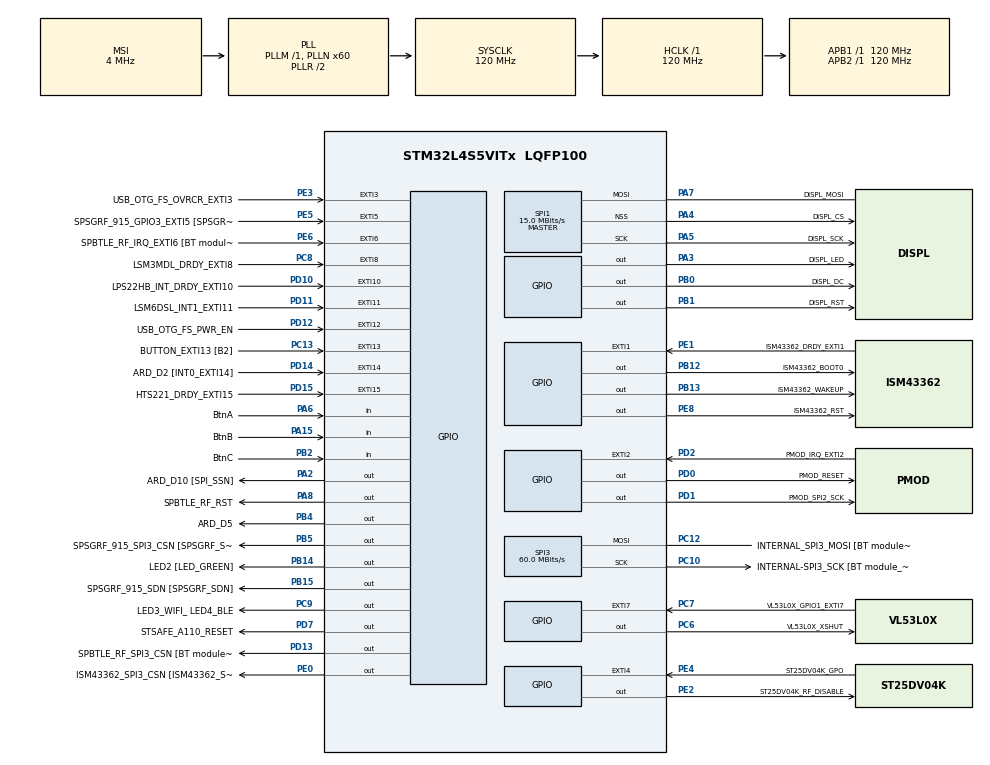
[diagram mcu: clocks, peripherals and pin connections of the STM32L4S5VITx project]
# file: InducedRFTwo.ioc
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Mcu.Family=STM32L4
Mcu.Name=STM32L4S5VITx
Mcu.Package=LQFP100
NVIC.EXTI15_10_IRQn=true\:0\:0\:false\:false\:true\:true\:true\:true
NVIC.EXTI9_5_IRQn=true\:0\:0\:false\:false\:true\:true\:true\:true
NVIC.PriorityGroup=NVIC_PRIORITYGROUP_4
PA0.GPIO_Label=ARD_D1 [UART4_TX]
PA0.GPIO_ModeDefaultPP=GPIO_MODE_AF_PP
PA0.GPIO_PuPd=GPIO_NOPULL
PA0.GPIO_Speed=GPIO_SPEED_FREQ_VERY_HIGH
PA0.Signal=UART4_TX
PA1.GPIO_Label=ARD_D0 [UART4_RX]
PA1.GPIO_ModeDefaultPP=GPIO_MODE_AF_PP
PA1.GPIO_PuPd=GPIO_NOPULL
PA1.GPIO_Speed=GPIO_SPEED_FREQ_VERY_HIGH
PA1.Signal=UART4_RX
PA13\ (JTMS/SWDIO).GPIO_Label=SYS_JTMS_SWDIO
PA13\ (JTMS/SWDIO).Signal=SYS_JTMS-SWDIO
PA14\ (JTCK/SWCLK).GPIO_Label=SYS_JTCK_SWCLK
PA14\ (JTCK/SWCLK).Signal=SYS_JTCK-SWCLK
PA15\ (JTDI).GPIO_Label=BtnB
PA15\ (JTDI).Signal=GPIO_Input
PA2.GPIO_Label=ARD_D10 [SPI_SSN]
PA2.GPIO_ModeDefaultOutputPP=GPIO_MODE_OUTPUT_PP
PA2.GPIO_PuPd=GPIO_NOPULL
PA2.GPIO_Speed=GPIO_SPEED_FREQ_LOW
PA2.PinState=GPIO_PIN_RESET
PA2.Signal=GPIO_Output
PA3.GPIO_Label=DISPL_LED
PA3.Signal=GPIO_Output
PA4.GPIO_Label=DISPL_CS
PA4.Mode=NSS_Signal_Hard_Output
PA4.Signal=SPI1_NSS
PA5.GPIO_Label=DISPL_SCK
PA5.GPIO_Mode=GPIO_MODE_AF_PP
PA5.GPIO_PuPd=GPIO_NOPULL
PA5.GPIO_Speed=GPIO_SPEED_FREQ_VERY_HIGH
PA5.Mode=Simplex_Bidirectional_Master
PA5.Signal=SPI1_SCK
PA6.GPIO_Label=BtnA
PA6.Signal=GPIO_Input
PA7.GPIO_Label=DISPL_MOSI
PA7.GPIO_Mode=GPIO_MODE_AF_PP
PA7.GPIO_PuPd=GPIO_NOPULL
PA7.GPIO_Speed=GPIO_SPEED_FREQ_VERY_HIGH
PA7.Mode=Simplex_Bidirectional_Master
PA7.Signal=SPI1_MOSI
PA8.GPIO_Label=SPBTLE_RF_RST
PA8.GPIO_ModeDefaultOutputPP=GPIO_MODE_OUTPUT_PP
PA8.GPIO_PuPd=GPIO_NOPULL
PA8.GPIO_Speed=GPIO_SPEED_FREQ_LOW
PA8.PinState=GPIO_PIN_RESET
PA8.Signal=GPIO_Output
PA9.GPIO_Label=USB_OTG_FS_VBUS
PA9.GPIO_Mode=GPIO_MODE_INPUT
PA9.GPIO_PuPd=GPIO_NOPULL
PA9.Signal=USB_OTG_FS_VBUS
PB0.GPIO_Label=DISPL_DC
PB0.Signal=GPIO_Output
PB1.GPIO_Label=DISPL_RST
PB1.Signal=GPIO_Output
PB10.GPIO_Label=INTERNAL_I2C2_SCL [MEMs]
PB10.GPIO_Mode=GPIO_MODE_AF_OD
PB10.GPIO_PuPdOD=GPIO_PULLUP
PB10.GPIO_Speed=GPIO_SPEED_FREQ_VERY_HIGH
PB10.Signal=I2C2_SCL
PB11.GPIO_Label=INTERNAL_I2C2_SDA [MEMs]
PB11.GPIO_Mode=GPIO_MODE_AF_OD
PB11.GPIO_PuPdOD=GPIO_PULLUP
PB11.GPIO_Speed=GPIO_SPEED_FREQ_VERY_HIGH
PB11.Signal=I2C2_SDA
PB12.GPIO_Label=ISM43362_BOOT0
PB12.GPIO_ModeDefaultOutputPP=GPIO_MODE_OUTPUT_PP
PB12.GPIO_PuPd=GPIO_NOPULL
PB12.GPIO_Speed=GPIO_SPEED_FREQ_LOW
PB12.PinState=GPIO_PIN_RESET
PB12.Signal=GPIO_Output
PB13.GPIO_Label=ISM43362_WAKEUP
PB13.GPIO_ModeDefaultOutputPP=GPIO_MODE_OUTPUT_PP
PB13.GPIO_PuPd=GPIO_NOPULL
PB13.GPIO_Speed=GPIO_SPEED_FREQ_LOW
PB13.PinState=GPIO_PIN_RESET
PB13.Signal=GPIO_Output
PB14.GPIO_Label=LED2 [LED_GREEN]
PB14.GPIO_ModeDefaultOutputPP=GPIO_MODE_OUTPUT_PP
PB14.GPIO_PuPd=GPIO_NOPULL
PB14.GPIO_Speed=GPIO_SPEED_FREQ_LOW
PB14.PinState=GPIO_PIN_RESET
PB14.Signal=GPIO_Output
PB15.GPIO_Label=SPSGRF_915_SDN [SPSGRF_SDN]
PB15.Signal=GPIO_Output
PB2.GPIO_Label=BtnC
PB2.Signal=GPIO_Input
PB3\ (JTDO/TRACESWO).GPIO_Label=SYS_JTD0_SWO
PB3\ (JTDO/TRACESWO).Signal=SYS_JTDO-SWO
PB4\ (NJTRST).GPIO_Label=ARD_D5
PB4\ (NJTRST).GPIO_ModeDefaultOutputPP=GPIO_MODE_OUTPUT_PP
PB4\ (NJTRST).GPIO_PuPd=GPIO_NOPULL
PB4\ (NJTRST).GPIO_Speed=GPIO_SPEED_FREQ_LOW
PB4\ (NJTRST).PinState=GPIO_PIN_RESET
PB4\ (NJTRST).Signal=GPIO_Output
PB5.GPIO_Label=SPSGRF_915_SPI3_CSN [SPSGRF_SPI_CS]
PB5.Signal=GPIO_Output
PB6.GPIO_FM6=__NULL
PB6.GPIO_Label=ST-LINK-UART1_TX
PB6.GPIO_ModeDefaultPP=GPIO_MODE_AF_PP
PB6.GPIO_PuPd=GPIO_NOPULL
PB6.GPIO_Speed=GPIO_SPEED_FREQ_VERY_HIGH
PB6.Signal=USART1_TX
PB7.GPIO_FM7=__NULL
PB7.GPIO_Label=ST_LINK_UART1_RX
PB7.GPIO_ModeDefaultPP=GPIO_MODE_AF_PP
PB7.GPIO_PuPd=GPIO_NOPULL
PB7.GPIO_Speed=GPIO_SPEED_FREQ_VERY_HIGH
PB7.Signal=USART1_RX
PB8.GPIO_FM8=__NULL
PB8.GPIO_Label=ARD_D15 [I2C1_SCL]
PB8.GPIO_Mode=GPIO_MODE_AF_OD
PB8.GPIO_PuPdOD=GPIO_PULLUP
PB8.GPIO_Speed=GPIO_SPEED_FREQ_VERY_HIGH
PB8.Signal=I2C1_SCL
PB9.GPIO_FM9=__NULL
PB9.GPIO_Label=ARD_D14 [I2C1_SDA]
PB9.GPIO_Mode=GPIO_MODE_AF_OD
PB9.GPIO_PuPdOD=GPIO_PULLUP
PB9.GPIO_Speed=GPIO_SPEED_FREQ_VERY_HIGH
PB9.Signal=I2C1_SDA
PC0.GPIO_Label=ARD_A5 [ADC]
PC0.GPIO_Mode=GPIO_MODE_ANALOG_ADC_CONTROL
PC0.GPIO_PuPd=GPIO_NOPULL
PC0.Signal=ADCx_IN1
PC1.GPIO_Label=ARD_A4 [ADC]
PC1.GPIO_Mode=GPIO_MODE_ANALOG_ADC_CONTROL
PC1.GPIO_PuPd=GPIO_NOPULL
PC1.Signal=ADCx_IN2
PC10.GPIO_Label=INTERNAL-SPI3_SCK [BT module_SPI_MOSI] [ISM43362_MOSI]
PC10.GPIO_Mode=GPIO_MODE_AF_PP
PC10.GPIO_PuPd=GPIO_NOPULL
PC10.GPIO_Speed=GPIO_SPEED_FREQ_VERY_HIGH
PC10.Mode=Simplex_Bidirectional_Master
PC10.Signal=SPI3_SCK
PC11.GPIO_Label=INTERNAL_SPI3_MISO [BT module_SPI_MOSI] [ISM43362_MOSI]
PC11.GPIO_Mode=GPIO_MODE_AF_PP
PC11.GPIO_PuPd=GPIO_NOPULL
PC11.GPIO_Speed=GPIO_SPEED_FREQ_VERY_HIGH
PC11.Signal=SPI3_MISO
PC12.GPIO_Label=INTERNAL_SPI3_MOSI [BT module_SPI_MOSI] [ISM43362_MOSI]
PC12.GPIO_Mode=GPIO_MODE_AF_PP
PC12.GPIO_PuPd=GPIO_NOPULL
PC12.GPIO_Speed=GPIO_SPEED_FREQ_VERY_HIGH
PC12.Mode=Simplex_Bidirectional_Master
PC12.Signal=SPI3_MOSI
PC13.GPIO_Label=BUTTON_EXTI13 [B2]
PC13.GPIO_ModeDefaultEXTI=GPIO_MODE_IT_RISING
PC13.GPIO_PuPd=GPIO_NOPULL
PC13.Signal=GPXTI13
PC2.GPIO_Label=ARD_A3 [ADC]
PC2.GPIO_Mode=GPIO_MODE_ANALOG_ADC_CONTROL
PC2.GPIO_PuPd=GPIO_NOPULL
PC2.Signal=ADCx_IN3
PC3.GPIO_Label=ARD_A2 [ADC]
PC3.GPIO_Mode=GPIO_MODE_ANALOG_ADC_CONTROL
PC3.GPIO_PuPd=GPIO_NOPULL
PC3.Signal=ADCx_IN4
PC4.GPIO_Label=ARD_A1 [ADC]
PC4.GPIO_Mode=GPIO_MODE_ANALOG_ADC_CONTROL
PC4.GPIO_PuPd=GPIO_NOPULL
PC4.Signal=ADCx_IN13
PC5.GPIO_Label=ARD_A0 [ADC]
PC5.GPIO_Mode=GPIO_MODE_ANALOG_ADC_CONTROL
PC5.GPIO_PuPd=GPIO_NOPULL
PC5.Signal=ADCx_IN14
PC6.GPIO_Label=VL53L0X_XSHUT
PC6.GPIO_ModeDefaultOutputPP=GPIO_MODE_OUTPUT_PP
PC6.GPIO_PuPd=GPIO_NOPULL
PC6.GPIO_Speed=GPIO_SPEED_FREQ_LOW
PC6.PinState=GPIO_PIN_RESET
PC6.Signal=GPIO_Output
PC7.GPIO_Label=VL53L0X_GPIO1_EXTI7
PC7.GPIO_ModeDefaultEXTI=GPIO_MODE_IT_RISING
PC7.GPIO_PuPd=GPIO_NOPULL
PC7.Signal=GPXTI7
PC8.GPIO_Label=LSM3MDL_DRDY_EXTI8
PC8.GPIO_ModeDefaultEXTI=GPIO_MODE_IT_RISING
PC8.GPIO_PuPd=GPIO_NOPULL
PC8.Signal=GPXTI8
PC9.GPIO_Label=LED3_WIFI_ LED4_BLE
PC9.GPIO_ModeDefaultOutputPP=GPIO_MODE_OUTPUT_PP
PC9.GPIO_PuPd=GPIO_NOPULL
PC9.GPIO_Speed=GPIO_SPEED_FREQ_LOW
PC9.PinState=GPIO_PIN_RESET
PC9.Signal=GPIO_Output
PD0.GPIO_Label=PMOD_RESET
PD0.GPIO_ModeDefaultOutputPP=GPIO_MODE_OUTPUT_PP
PD0.GPIO_PuPd=GPIO_NOPULL
PD0.GPIO_Speed=GPIO_SPEED_FREQ_LOW
PD0.PinState=GPIO_PIN_RESET
PD0.Signal=GPIO_Output
PD1.GPIO_Label=PMOD_SPI2_SCK
PD1.Signal=GPIO_Output
PD10.GPIO_Label=LPS22HB_INT_DRDY_EXTI10
PD10.GPIO_ModeDefaultEXTI=GPIO_MODE_IT_RISING
PD10.GPIO_PuPd=GPIO_NOPULL
PD10.Signal=GPXTI10
PD11.GPIO_Label=LSM6DSL_INT1_EXTI11
PD11.GPIO_ModeDefaultEXTI=GPIO_MODE_IT_RISING
PD11.GPIO_PuPd=GPIO_NOPULL
PD11.Signal=GPXTI11
PD12.GPIO_Label=USB_OTG_FS_PWR_EN
PD12.GPIO_ModeDefaultEXTI=GPIO_MODE_IT_RISING
PD12.GPIO_PuPd=GPIO_NOPULL
PD12.Signal=GPXTI12
PD13.GPIO_Label=SPBTLE_RF_SPI3_CSN [BT module_SPI_CS]
PD13.GPIO_ModeDefaultOutputPP=GPIO_MODE_OUTPUT_PP
PD13.GPIO_PuPd=GPIO_NOPULL
PD13.GPIO_Speed=GPIO_SPEED_FREQ_LOW
PD13.PinState=GPIO_PIN_RESET
PD13.Signal=GPIO_Output
PD14.GPIO_Label=ARD_D2 [INT0_EXTI14]
PD14.GPIO_ModeDefaultEXTI=GPIO_MODE_IT_RISING
PD14.GPIO_PuPd=GPIO_NOPULL
PD14.Signal=GPXTI14
PD15.GPIO_Label=HTS221_DRDY_EXTI15
PD15.GPIO_ModeDefaultEXTI=GPIO_MODE_IT_RISING
PD15.GPIO_PuPd=GPIO_NOPULL
PD15.Signal=GPXTI15
PD2.GPIO_Label=PMOD_IRQ_EXTI2
PD2.GPIO_ModeDefaultEXTI=GPIO_MODE_IT_RISING
PD2.GPIO_PuPd=GPIO_NOPULL
PD2.Signal=GPXTI2
PD3.GPIO_Label=PMOD_UART2_CTS
PD3.GPIO_Mode=GPIO_MODE_AF_PP
PD3.GPIO_PuPd=GPIO_NOPULL
PD3.GPIO_Speed=GPIO_SPEED_FREQ_VERY_HIGH
PD3.Signal=USART2_CTS
PD4.GPIO_Label=PMOD_UART2_RTS
PD4.GPIO_Mode=GPIO_MODE_AF_PP
PD4.GPIO_PuPd=GPIO_NOPULL
PD4.GPIO_Speed=GPIO_SPEED_FREQ_VERY_HIGH
PD4.Signal=USART2_RTS
PD5.GPIO_Label=PMOD_UART2_TX
PD5.GPIO_ModeDefaultPP=GPIO_MODE_AF_PP
PD5.GPIO_PuPd=GPIO_NOPULL
PD5.GPIO_Speed=GPIO_SPEED_FREQ_VERY_HIGH
PD5.Signal=USART2_TX
PD6.GPIO_Label=PMOD_UART2_RX
PD6.GPIO_ModeDefaultPP=GPIO_MODE_AF_PP
PD6.GPIO_PuPd=GPIO_NOPULL
PD6.GPIO_Speed=GPIO_SPEED_FREQ_VERY_HIGH
PD6.Signal=USART2_RX
PD7.GPIO_Label=STSAFE_A110_RESET
PD7.GPIO_ModeDefaultOutputPP=GPIO_MODE_OUTPUT_PP
PD7.GPIO_PuPd=GPIO_NOPULL
PD7.GPIO_Speed=GPIO_SPEED_FREQ_LOW
PD7.PinState=GPIO_PIN_RESET
PD7.Signal=GPIO_Output
PD8.GPIO_Label=INTERNAL_UART3_TX [ISM43362_RX]
PD8.GPIO_ModeDefaultPP=GPIO_MODE_AF_PP
PD8.GPIO_PuPd=GPIO_NOPULL
PD8.GPIO_Speed=GPIO_SPEED_FREQ_VERY_HIGH
PD8.Signal=USART3_TX
PD9.GPIO_Label=INTERNAL_UART3_RX [ISM43362_TX]
PD9.GPIO_ModeDefaultPP=GPIO_MODE_AF_PP
PD9.GPIO_PuPd=GPIO_NOPULL
PD9.GPIO_Speed=GPIO_SPEED_FREQ_VERY_HIGH
PD9.Signal=USART3_RX
PE0.GPIO_Label=ISM43362_SPI3_CSN [ISM43362_SSN]
PE0.GPIO_ModeDefaultOutputPP=GPIO_MODE_OUTPUT_PP
PE0.GPIO_PuPd=GPIO_NOPULL
PE0.GPIO_Speed=GPIO_SPEED_FREQ_LOW
PE0.PinState=GPIO_PIN_RESET
PE0.Signal=GPIO_Output
PE1.GPIO_Label=ISM43362_DRDY_EXTI1
PE1.GPIO_ModeDefaultEXTI=GPIO_MODE_IT_RISING
PE1.GPIO_PuPd=GPIO_NOPULL
PE1.Signal=GPXTI1
PE10.GPIO_Label=QUADSPI_CLK [MX25R6435F_SCLK]
PE10.GPIO_Mode=GPIO_MODE_AF_PP
PE10.GPIO_PuPd=GPIO_NOPULL
PE10.GPIO_Speed_High_Default=GPIO_SPEED_FREQ_VERY_HIGH
PE10.Signal=OCTOSPIM_P1_CLK
PE11.GPIO_Label=QUADSPI_NCS [MX25R6435F_SCLK]
PE11.GPIO_Mode=GPIO_MODE_AF_PP
PE11.GPIO_PuPd=GPIO_NOPULL
PE11.GPIO_Speed_High_Default=GPIO_SPEED_FREQ_VERY_HIGH
PE11.Signal=OCTOSPIM_P1_NCS
PE12.GPIO_Label=OQUADSPI_BK1_IO0 [MX25R6435F_IO0]
PE12.GPIO_Mode=GPIO_MODE_AF_PP
PE12.GPIO_PuPd=GPIO_NOPULL
PE12.GPIO_Speed_High_Default=GPIO_SPEED_FREQ_VERY_HIGH
PE12.Signal=OCTOSPIM_P1_IO0
PE13.GPIO_Label=QUADSPI_BK1_IO1 [MX25R6435F_IO1]
PE13.GPIO_Mode=GPIO_MODE_AF_PP
PE13.GPIO_PuPd=GPIO_NOPULL
PE13.GPIO_Speed_High_Default=GPIO_SPEED_FREQ_VERY_HIGH
PE13.Signal=OCTOSPIM_P1_IO1
PE14.GPIO_Label=QUAD_SPI_BK1_IO2 [MX25R6435F_IO2]
PE14.GPIO_Mode=GPIO_MODE_AF_PP
PE14.GPIO_PuPd=GPIO_NOPULL
PE14.GPIO_Speed_High_Default=GPIO_SPEED_FREQ_VERY_HIGH
PE14.Signal=OCTOSPIM_P1_IO2
PE15.GPIO_Label=QUAD_SPI_BK1_IO3 [MX25R6435F_IO3]
PE15.GPIO_Mode=GPIO_MODE_AF_PP
PE15.GPIO_PuPd=GPIO_NOPULL
PE15.GPIO_Speed_High_Default=GPIO_SPEED_FREQ_VERY_HIGH
PE15.Signal=OCTOSPIM_P1_IO3
PE2.GPIO_Label=ST25DV04K_RF_DISABLE
PE2.GPIO_ModeDefaultOutputPP=GPIO_MODE_OUTPUT_PP
PE2.GPIO_PuPd=GPIO_NOPULL
PE2.GPIO_Speed=GPIO_SPEED_FREQ_LOW
PE2.PinState=GPIO_PIN_RESET
PE2.Signal=GPIO_Output
PE3.GPIO_Label=USB_OTG_FS_OVRCR_EXTI3
PE3.GPIO_ModeDefaultEXTI=GPIO_MODE_IT_RISING
PE3.GPIO_PuPd=GPIO_NOPULL
PE3.Signal=GPXTI3
PE4.GPIO_Label=ST25DV04K_GPO
PE4.GPIO_ModeDefaultEXTI=GPIO_MODE_IT_RISING
PE4.GPIO_PuPd=GPIO_NOPULL
PE4.Signal=GPXTI4
PE5.GPIO_Label=SPSGRF_915_GPIO3_EXTI5 [SPSGRF_GPIO_3]
PE5.Signal=GPXTI5
PE6.GPIO_Label=SPBTLE_RF_IRQ_EXTI6 [BT module_SPI_IRQ]
PE6.GPIO_ModeDefaultEXTI=GPIO_MODE_IT_RISING
PE6.GPIO_PuPd=GPIO_NOPULL
PE6.Signal=GPXTI6
PE7.GPIO_Label=DFSDM1_DATIN2 [MP34DT01_DOUT]
PE7.GPIO_Mode=GPIO_MODE_AF_PP
PE7.GPIO_PuPd=GPIO_NOPULL
PE7.GPIO_Speed=GPIO_SPEED_FREQ_LOW
PE7.Signal=S_DATAIN2DFSDM1
PE8.GPIO_Label=ISM43362_RST
PE8.GPIO_ModeDefaultOutputPP=GPIO_MODE_OUTPUT_PP
PE8.GPIO_PuPd=GPIO_NOPULL
PE8.GPIO_Speed=GPIO_SPEED_FREQ_LOW
PE8.PinState=GPIO_PIN_RESET
PE8.Signal=GPIO_Output
PE9.GPIO_Label=DFSDM1_CKOUT [MP34DT01_CLK]
PE9.GPIO_Mode=GPIO_MODE_AF_PP
PE9.GPIO_PuPd=GPIO_NOPULL
PE9.GPIO_Speed=GPIO_SPEED_FREQ_LOW
PE9.Signal=S_CKOUTDFSDM1
ProjectManager.HeapSize=0x200
ProjectManager.StackSize=0x400
ProjectManager.TargetToolchain=STM32CubeIDE
RCC.ADCFreq_Value=48000000
RCC.AHBFreq_Value=120000000
RCC.APB1Freq_Value=120000000
RCC.APB1TimFreq_Value=120000000
RCC.APB2Freq_Value=120000000
RCC.APB2TimFreq_Value=120000000
RCC.CortexFreq_Value=120000000
RCC.HCLKFreq_Value=120000000
RCC.HSE_VALUE=8000000
RCC.HSI48_VALUE=48000000
RCC.HSI_VALUE=16000000
RCC.LSE_VALUE=32768
RCC.MSI_VALUE=4000000
RCC.PLLN=60
RCC.PLLSAI1N=24
RCC.SYSCLKFreq_VALUE=120000000
RCC.SYSCLKSource=RCC_SYSCLKSOURCE_PLLCLK
RCC.USBFreq_Value=48000000
RCC.VCOOutputFreq_Value=240000000
SH.ADCx_IN1.0=ADC1_IN1
SH.ADCx_IN13.0=ADC1_IN13
SH.ADCx_IN14.0=ADC1_IN14
SH.ADCx_IN2.0=ADC1_IN2
SH.ADCx_IN3.0=ADC1_IN3
SH.ADCx_IN4.0=ADC1_IN4
SH.S_CKOUTDFSDM1.0=DFSDM1_CKOUT
SH.S_DATAIN2DFSDM1.0=DFSDM1_DATIN2
SPI1.BaudRatePrescaler=SPI_BAUDRATEPRESCALER_8
SPI1.CalculateBaudRate=15.0 MBits/s
SPI1.DataSize=SPI_DATASIZE_8BIT
SPI1.Direction=SPI_DIRECTION_1LINE
SPI1.Mode=SPI_MODE_MASTER
SPI1.NSSPMode=SPI_NSS_PULSE_ENABLE
SPI1.VirtualNSS=VM_NSSHARD
SPI1.VirtualType=VM_MASTER
SPI3.CalculateBaudRate=60.0 MBits/s
SPI3.Direction=SPI_DIRECTION_1LINE
SPI3.Mode=SPI_MODE_MASTER
SPI3.VirtualType=VM_MASTER
board=B-L4S5I-IOT01A

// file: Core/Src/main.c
/* USER CODE BEGIN Header */
/**
  ******************************************************************************
  * @file           : main.c
  * @brief          : Main program body
  ******************************************************************************
  * @attention
  *
  * Copyright (c) 2026 STMicroelectronics.
  * All rights reserved.
  *
  * This software is licensed under terms that can be found in the LICENSE file
  * in the root directory of this software component.
  * If no LICENSE file comes with this software, it is provided AS-IS.
  *
  ******************************************************************************
  */
/* USER CODE END Header */
#include "main.h"

/* USER CODE BEGIN Includes */
#include "fonts.h"
#include "z_displ_ST7735.h"
#include "z_displ_ST7735_test.h"
#include "ui.h"
/* USER CODE END Includes */

/* USER CODE BEGIN PD */
#define BTN_A_READ() HAL_GPIO_ReadPin (GPIOA, GPIO_PIN_6)
#define BTN_B_READ() HAL_GPIO_ReadPin (GPIOA, GPIO_PIN_15)
#define BTN_C_READ() HAL_GPIO_ReadPin (GPIOB, GPIO_PIN_2)

/* Active-LOW buttons (pulled high, pressed = GPIO_PIN_RESET)?
 * Flip the comparison:  == GPIO_PIN_RESET  →  pressed           */
#define BTN_ACTIVE_STATE   GPIO_PIN_SET   /* change to RESET if needed */

/* UI tick interval in milliseconds */
#define UI_TICK_MS   20u

/* USER CODE END PD */

SPI_HandleTypeDef hspi1;
SPI_HandleTypeDef hspi3;

void SystemClock_Config(void);
static void MX_GPIO_Init(void);
static void MX_SPI1_Init(void);
static void MX_SPI3_Init(void);
/* USER CODE BEGIN PFP */
static uint8_t Read_Buttons(void);
/* USER CODE END PFP */

int main(void)
{

  /* MCU Configuration--------------------------------------------------------*/

  /* Reset of all peripherals, Initializes the Flash interface and the Systick. */
  HAL_Init();

  /* Configure the system clock */
  SystemClock_Config();

  /* Initialize all configured peripherals */
  MX_GPIO_Init();
  MX_SPI1_Init();
  MX_SPI3_Init();
  /* USER CODE BEGIN 2 */
  //Display Code from https://github.com/maudeve-it/ST7735S-STM32/tree/main
  Displ_Init(Displ_Orientat_0);		// initialize the display and set the initial display orientation (here is orientaton: 0°) - THIS FUNCTION MUST PRECEED ANY OTHER DISPLAY FUNCTION CALL.
  Displ_CLS(BLACK);			// after initialization (above) and before turning on backlight (below), you can draw the initial display appearance. (here I'm just clearing display with a black background)
  Displ_BackLight('1');  			// initialize backlight and turn it on at init level

  UI_Init();
  /* USER CODE END 2 */

  /* Infinite loop */
  /* USER CODE BEGIN WHILE */
  uint32_t lastTick = HAL_GetTick();
  while (1)
  {
    /* USER CODE END WHILE */

    /* USER CODE BEGIN 3 */
      uint32_t now = HAL_GetTick();

      if ((now - lastTick) >= UI_TICK_MS)
      {
          lastTick = now;

          /* Read buttons and let the UI state-machine decide what to do */
          uint8_t buttons = Read_Buttons();
          UI_Update(buttons);

          /* ── Add other periodic tasks here ──────────────────────
           * e.g. ADC sampling, SD-card writes, LED heartbeat, etc.
           * ──────────────────────────────────────────────────────── */
      }
  }
  /* USER CODE END 3 */
}

void SystemClock_Config(void)
{
  RCC_OscInitTypeDef RCC_OscInitStruct = {0};
  RCC_ClkInitTypeDef RCC_ClkInitStruct = {0};

  /** Configure the main internal regulator output voltage
  */
  if (HAL_PWREx_ControlVoltageScaling(PWR_REGULATOR_VOLTAGE_SCALE1_BOOST) != HAL_OK)
  {
    Error_Handler();
  }

  /** Initializes the RCC Oscillators according to the specified parameters
  * in the RCC_OscInitTypeDef structure.
  */
  RCC_OscInitStruct.OscillatorType = RCC_OSCILLATORTYPE_MSI;
  RCC_OscInitStruct.MSIState = RCC_MSI_ON;
  RCC_OscInitStruct.MSICalibrationValue = 0;
  RCC_OscInitStruct.MSIClockRange = RCC_MSIRANGE_6;
  RCC_OscInitStruct.PLL.PLLState = RCC_PLL_ON;
  RCC_OscInitStruct.PLL.PLLSource = RCC_PLLSOURCE_MSI;
  RCC_OscInitStruct.PLL.PLLM = 1;
  RCC_OscInitStruct.PLL.PLLN = 60;
  RCC_OscInitStruct.PLL.PLLP = RCC_PLLP_DIV2;
  RCC_OscInitStruct.PLL.PLLQ = RCC_PLLQ_DIV2;
  RCC_OscInitStruct.PLL.PLLR = RCC_PLLR_DIV2;
  if (HAL_RCC_OscConfig(&RCC_OscInitStruct) != HAL_OK)
  {
    Error_Handler();
  }

  /** Initializes the CPU, AHB and APB buses clocks
  */
  RCC_ClkInitStruct.ClockType = RCC_CLOCKTYPE_HCLK|RCC_CLOCKTYPE_SYSCLK
                              |RCC_CLOCKTYPE_PCLK1|RCC_CLOCKTYPE_PCLK2;
  RCC_ClkInitStruct.SYSCLKSource = RCC_SYSCLKSOURCE_PLLCLK;
  RCC_ClkInitStruct.AHBCLKDivider = RCC_SYSCLK_DIV1;
  RCC_ClkInitStruct.APB1CLKDivider = RCC_HCLK_DIV1;
  RCC_ClkInitStruct.APB2CLKDivider = RCC_HCLK_DIV1;

  if (HAL_RCC_ClockConfig(&RCC_ClkInitStruct, FLASH_LATENCY_5) != HAL_OK)
  {
    Error_Handler();
  }
}

static void MX_SPI1_Init(void)
{

  /* SPI1 parameter configuration*/
  hspi1.Instance = SPI1;
  hspi1.Init.Mode = SPI_MODE_MASTER;
  hspi1.Init.Direction = SPI_DIRECTION_1LINE;
  hspi1.Init.DataSize = SPI_DATASIZE_8BIT;
  hspi1.Init.CLKPolarity = SPI_POLARITY_LOW;
  hspi1.Init.CLKPhase = SPI_PHASE_1EDGE;
  hspi1.Init.NSS = SPI_NSS_HARD_OUTPUT;
  hspi1.Init.BaudRatePrescaler = SPI_BAUDRATEPRESCALER_8;
  hspi1.Init.FirstBit = SPI_FIRSTBIT_MSB;
  hspi1.Init.TIMode = SPI_TIMODE_DISABLE;
  hspi1.Init.CRCCalculation = SPI_CRCCALCULATION_DISABLE;
  hspi1.Init.CRCPolynomial = 7;
  hspi1.Init.CRCLength = SPI_CRC_LENGTH_DATASIZE;
  hspi1.Init.NSSPMode = SPI_NSS_PULSE_ENABLE;
  if (HAL_SPI_Init(&hspi1) != HAL_OK)
  {
    Error_Handler();
  }

}

static void MX_SPI3_Init(void)
{

  /* SPI3 parameter configuration*/
  hspi3.Instance = SPI3;
  hspi3.Init.Mode = SPI_MODE_MASTER;
  hspi3.Init.Direction = SPI_DIRECTION_1LINE;
  hspi3.Init.DataSize = SPI_DATASIZE_4BIT;
  hspi3.Init.CLKPolarity = SPI_POLARITY_LOW;
  hspi3.Init.CLKPhase = SPI_PHASE_1EDGE;
  hspi3.Init.NSS = SPI_NSS_SOFT;
  hspi3.Init.BaudRatePrescaler = SPI_BAUDRATEPRESCALER_2;
  hspi3.Init.FirstBit = SPI_FIRSTBIT_MSB;
  hspi3.Init.TIMode = SPI_TIMODE_DISABLE;
  hspi3.Init.CRCCalculation = SPI_CRCCALCULATION_DISABLE;
  hspi3.Init.CRCPolynomial = 7;
  hspi3.Init.CRCLength = SPI_CRC_LENGTH_DATASIZE;
  hspi3.Init.NSSPMode = SPI_NSS_PULSE_ENABLE;
  if (HAL_SPI_Init(&hspi3) != HAL_OK)
  {
    Error_Handler();
  }

}

static void MX_GPIO_Init(void)
{
  GPIO_InitTypeDef GPIO_InitStruct = {0};

  /* GPIO Ports Clock Enable */
  __HAL_RCC_GPIOE_CLK_ENABLE();
  __HAL_RCC_GPIOC_CLK_ENABLE();
  __HAL_RCC_GPIOA_CLK_ENABLE();
  __HAL_RCC_GPIOB_CLK_ENABLE();
  __HAL_RCC_GPIOD_CLK_ENABLE();

  /*Configure GPIO pin Output Level */
  HAL_GPIO_WritePin(GPIOE, ST25DV04K_RF_DISABLE_Pin|ISM43362_RST_Pin|ISM43362_SPI3_CSN_Pin, GPIO_PIN_RESET);

  /*Configure GPIO pin Output Level */
  HAL_GPIO_WritePin(GPIOA, ARD_D10_Pin|DISPL_LED_Pin|SPBTLE_RF_RST_Pin, GPIO_PIN_RESET);

  /*Configure GPIO pin Output Level */
  HAL_GPIO_WritePin(GPIOB, DISPL_DC_Pin|DISPL_RST_Pin|ISM43362_BOOT0_Pin|ISM43362_WAKEUP_Pin
                          |LED2_Pin|SPSGRF_915_SDN_Pin|ARD_D5_Pin|SPSGRF_915_SPI3_CSN_Pin, GPIO_PIN_RESET);

  /*Configure GPIO pin Output Level */
  HAL_GPIO_WritePin(GPIOD, SPBTLE_RF_SPI3_CSN_Pin|PMOD_RESET_Pin|PMOD_SPI2_SCK_Pin|STSAFE_A110_RESET_Pin, GPIO_PIN_RESET);

  /*Configure GPIO pin Output Level */
  HAL_GPIO_WritePin(GPIOC, VL53L0X_XSHUT_Pin|LED3_WIFI__LED4_BLE_Pin, GPIO_PIN_RESET);

  /*Configure GPIO pins : ST25DV04K_RF_DISABLE_Pin ISM43362_RST_Pin ISM43362_SPI3_CSN_Pin */
  GPIO_InitStruct.Pin = ST25DV04K_RF_DISABLE_Pin|ISM43362_RST_Pin|ISM43362_SPI3_CSN_Pin;
  GPIO_InitStruct.Mode = GPIO_MODE_OUTPUT_PP;
  GPIO_InitStruct.Pull = GPIO_NOPULL;
  GPIO_InitStruct.Speed = GPIO_SPEED_FREQ_LOW;
  HAL_GPIO_Init(GPIOE, &GPIO_InitStruct);

  /*Configure GPIO pins : USB_OTG_FS_OVRCR_EXTI3_Pin ST25DV04K_GPO_Pin SPSGRF_915_GPIO3_EXTI5_Pin SPBTLE_RF_IRQ_EXTI6_Pin
                           ISM43362_DRDY_EXTI1_Pin */
  GPIO_InitStruct.Pin = USB_OTG_FS_OVRCR_EXTI3_Pin|ST25DV04K_GPO_Pin|SPSGRF_915_GPIO3_EXTI5_Pin|SPBTLE_RF_IRQ_EXTI6_Pin
                          |ISM43362_DRDY_EXTI1_Pin;
  GPIO_InitStruct.Mode = GPIO_MODE_IT_RISING;
  GPIO_InitStruct.Pull = GPIO_NOPULL;
  HAL_GPIO_Init(GPIOE, &GPIO_InitStruct);

  /*Configure GPIO pins : BUTTON_EXTI13_Pin VL53L0X_GPIO1_EXTI7_Pin LSM3MDL_DRDY_EXTI8_Pin */
  GPIO_InitStruct.Pin = BUTTON_EXTI13_Pin|VL53L0X_GPIO1_EXTI7_Pin|LSM3MDL_DRDY_EXTI8_Pin;
  GPIO_InitStruct.Mode = GPIO_MODE_IT_RISING;
  GPIO_InitStruct.Pull = GPIO_NOPULL;
  HAL_GPIO_Init(GPIOC, &GPIO_InitStruct);

  /*Configure GPIO pins : ARD_A5_Pin ARD_A4_Pin ARD_A3_Pin ARD_A2_Pin
                           ARD_A1_Pin ARD_A0_Pin */
  GPIO_InitStruct.Pin = ARD_A5_Pin|ARD_A4_Pin|ARD_A3_Pin|ARD_A2_Pin
                          |ARD_A1_Pin|ARD_A0_Pin;
  GPIO_InitStruct.Mode = GPIO_MODE_ANALOG_ADC_CONTROL;
  GPIO_InitStruct.Pull = GPIO_NOPULL;
  HAL_GPIO_Init(GPIOC, &GPIO_InitStruct);

  /*Configure GPIO pins : ARD_D1_Pin ARD_D0_Pin */
  GPIO_InitStruct.Pin = ARD_D1_Pin|ARD_D0_Pin;
  GPIO_InitStruct.Mode = GPIO_MODE_AF_PP;
  GPIO_InitStruct.Pull = GPIO_NOPULL;
  GPIO_InitStruct.Speed = GPIO_SPEED_FREQ_VERY_HIGH;
  GPIO_InitStruct.Alternate = GPIO_AF8_UART4;
  HAL_GPIO_Init(GPIOA, &GPIO_InitStruct);

  /*Configure GPIO pins : ARD_D10_Pin DISPL_LED_Pin SPBTLE_RF_RST_Pin */
  GPIO_InitStruct.Pin = ARD_D10_Pin|DISPL_LED_Pin|SPBTLE_RF_RST_Pin;
  GPIO_InitStruct.Mode = GPIO_MODE_OUTPUT_PP;
  GPIO_InitStruct.Pull = GPIO_NOPULL;
  GPIO_InitStruct.Speed = GPIO_SPEED_FREQ_LOW;
  HAL_GPIO_Init(GPIOA, &GPIO_InitStruct);

  /*Configure GPIO pins : BtnA_Pin BtnB_Pin */
  GPIO_InitStruct.Pin = BtnA_Pin|BtnB_Pin;
  GPIO_InitStruct.Mode = GPIO_MODE_INPUT;
  GPIO_InitStruct.Pull = GPIO_NOPULL;
  HAL_GPIO_Init(GPIOA, &GPIO_InitStruct);

  /*Configure GPIO pins : DISPL_DC_Pin DISPL_RST_Pin ISM43362_BOOT0_Pin ISM43362_WAKEUP_Pin
                           LED2_Pin SPSGRF_915_SDN_Pin ARD_D5_Pin SPSGRF_915_SPI3_CSN_Pin */
  GPIO_InitStruct.Pin = DISPL_DC_Pin|DISPL_RST_Pin|ISM43362_BOOT0_Pin|ISM43362_WAKEUP_Pin
                          |LED2_Pin|SPSGRF_915_SDN_Pin|ARD_D5_Pin|SPSGRF_915_SPI3_CSN_Pin;
  GPIO_InitStruct.Mode = GPIO_MODE_OUTPUT_PP;
  GPIO_InitStruct.Pull = GPIO_NOPULL;
  GPIO_InitStruct.Speed = GPIO_SPEED_FREQ_LOW;
  HAL_GPIO_Init(GPIOB, &GPIO_InitStruct);

  /*Configure GPIO pin : BtnC_Pin */
  GPIO_InitStruct.Pin = BtnC_Pin;
  GPIO_InitStruct.Mode = GPIO_MODE_INPUT;
  GPIO_InitStruct.Pull = GPIO_NOPULL;
  HAL_GPIO_Init(BtnC_GPIO_Port, &GPIO_InitStruct);

  /*Configure GPIO pins : DFSDM1_DATIN2_Pin DFSDM1_CKOUT_Pin */
  GPIO_InitStruct.Pin = DFSDM1_DATIN2_Pin|DFSDM1_CKOUT_Pin;
  GPIO_InitStruct.Mode = GPIO_MODE_AF_PP;
  GPIO_InitStruct.Pull = GPIO_NOPULL;
  GPIO_InitStruct.Speed = GPIO_SPEED_FREQ_LOW;
  GPIO_InitStruct.Alternate = GPIO_AF6_DFSDM1;
  HAL_GPIO_Init(GPIOE, &GPIO_InitStruct);

  /*Configure GPIO pins : QUADSPI_CLK_Pin QUADSPI_NCS_Pin OQUADSPI_BK1_IO0_Pin QUADSPI_BK1_IO1_Pin
                           QUAD_SPI_BK1_IO2_Pin QUAD_SPI_BK1_IO3_Pin */
  GPIO_InitStruct.Pin = QUADSPI_CLK_Pin|QUADSPI_NCS_Pin|OQUADSPI_BK1_IO0_Pin|QUADSPI_BK1_IO1_Pin
                          |QUAD_SPI_BK1_IO2_Pin|QUAD_SPI_BK1_IO3_Pin;
  GPIO_InitStruct.Mode = GPIO_MODE_AF_PP;
  GPIO_InitStruct.Pull = GPIO_NOPULL;
  GPIO_InitStruct.Speed = GPIO_SPEED_FREQ_VERY_HIGH;
  GPIO_InitStruct.Alternate = GPIO_AF10_OCTOSPIM_P1;
  HAL_GPIO_Init(GPIOE, &GPIO_InitStruct);

  /*Configure GPIO pins : INTERNAL_I2C2_SCL_Pin INTERNAL_I2C2_SDA_Pin */
  GPIO_InitStruct.Pin = INTERNAL_I2C2_SCL_Pin|INTERNAL_I2C2_SDA_Pin;
  GPIO_InitStruct.Mode = GPIO_MODE_AF_OD;
  GPIO_InitStruct.Pull = GPIO_NOPULL;
  GPIO_InitStruct.Speed = GPIO_SPEED_FREQ_VERY_HIGH;
  GPIO_InitStruct.Alternate = GPIO_AF4_I2C2;
  HAL_GPIO_Init(GPIOB, &GPIO_InitStruct);

  /*Configure GPIO pins : INTERNAL_UART3_TX_Pin INTERNAL_UART3_RX_Pin */
  GPIO_InitStruct.Pin = INTERNAL_UART3_TX_Pin|INTERNAL_UART3_RX_Pin;
  GPIO_InitStruct.Mode = GPIO_MODE_AF_PP;
  GPIO_InitStruct.Pull = GPIO_NOPULL;
  GPIO_InitStruct.Speed = GPIO_SPEED_FREQ_VERY_HIGH;
  GPIO_InitStruct.Alternate = GPIO_AF7_USART3;
  HAL_GPIO_Init(GPIOD, &GPIO_InitStruct);

  /*Configure GPIO pins : LPS22HB_INT_DRDY_EXTI10_Pin LSM6DSL_INT1_EXTI11_Pin USB_OTG_FS_PWR_EN_Pin ARD_D2_Pin
                           HTS221_DRDY_EXTI15_Pin PMOD_IRQ_EXTI2_Pin */
  GPIO_InitStruct.Pin = LPS22HB_INT_DRDY_EXTI10_Pin|LSM6DSL_INT1_EXTI11_Pin|USB_OTG_FS_PWR_EN_Pin|ARD_D2_Pin
                          |HTS221_DRDY_EXTI15_Pin|PMOD_IRQ_EXTI2_Pin;
  GPIO_InitStruct.Mode = GPIO_MODE_IT_RISING;
  GPIO_InitStruct.Pull = GPIO_NOPULL;
  HAL_GPIO_Init(GPIOD, &GPIO_InitStruct);

  /*Configure GPIO pins : SPBTLE_RF_SPI3_CSN_Pin PMOD_RESET_Pin PMOD_SPI2_SCK_Pin STSAFE_A110_RESET_Pin */
  GPIO_InitStruct.Pin = SPBTLE_RF_SPI3_CSN_Pin|PMOD_RESET_Pin|PMOD_SPI2_SCK_Pin|STSAFE_A110_RESET_Pin;
  GPIO_InitStruct.Mode = GPIO_MODE_OUTPUT_PP;
  GPIO_InitStruct.Pull = GPIO_NOPULL;
  GPIO_InitStruct.Speed = GPIO_SPEED_FREQ_LOW;
  HAL_GPIO_Init(GPIOD, &GPIO_InitStruct);

  /*Configure GPIO pins : VL53L0X_XSHUT_Pin LED3_WIFI__LED4_BLE_Pin */
  GPIO_InitStruct.Pin = VL53L0X_XSHUT_Pin|LED3_WIFI__LED4_BLE_Pin;
  GPIO_InitStruct.Mode = GPIO_MODE_OUTPUT_PP;
  GPIO_InitStruct.Pull = GPIO_NOPULL;
  GPIO_InitStruct.Speed = GPIO_SPEED_FREQ_LOW;
  HAL_GPIO_Init(GPIOC, &GPIO_InitStruct);

  /*Configure GPIO pin : USB_OTG_FS_VBUS_Pin */
  GPIO_InitStruct.Pin = USB_OTG_FS_VBUS_Pin;
  GPIO_InitStruct.Mode = GPIO_MODE_INPUT;
  GPIO_InitStruct.Pull = GPIO_NOPULL;
  HAL_GPIO_Init(USB_OTG_FS_VBUS_GPIO_Port, &GPIO_InitStruct);

  /*Configure GPIO pins : PMOD_UART2_CTS_Pin PMOD_UART2_RTS_Pin PMOD_UART2_TX_Pin PMOD_UART2_RX_Pin */
  GPIO_InitStruct.Pin = PMOD_UART2_CTS_Pin|PMOD_UART2_RTS_Pin|PMOD_UART2_TX_Pin|PMOD_UART2_RX_Pin;
  GPIO_InitStruct.Mode = GPIO_MODE_AF_PP;
  GPIO_InitStruct.Pull = GPIO_NOPULL;
  GPIO_InitStruct.Speed = GPIO_SPEED_FREQ_VERY_HIGH;
  GPIO_InitStruct.Alternate = GPIO_AF7_USART2;
  HAL_GPIO_Init(GPIOD, &GPIO_InitStruct);

  /*Configure GPIO pins : ST_LINK_UART1_TX_Pin ST_LINK_UART1_RX_Pin */
  GPIO_InitStruct.Pin = ST_LINK_UART1_TX_Pin|ST_LINK_UART1_RX_Pin;
  GPIO_InitStruct.Mode = GPIO_MODE_AF_PP;
  GPIO_InitStruct.Pull = GPIO_NOPULL;
  GPIO_InitStruct.Speed = GPIO_SPEED_FREQ_VERY_HIGH;
  GPIO_InitStruct.Alternate = GPIO_AF7_USART1;
  HAL_GPIO_Init(GPIOB, &GPIO_InitStruct);

  /*Configure GPIO pins : ARD_D15_Pin ARD_D14_Pin */
  GPIO_InitStruct.Pin = ARD_D15_Pin|ARD_D14_Pin;
  GPIO_InitStruct.Mode = GPIO_MODE_AF_OD;
  GPIO_InitStruct.Pull = GPIO_NOPULL;
  GPIO_InitStruct.Speed = GPIO_SPEED_FREQ_VERY_HIGH;
  GPIO_InitStruct.Alternate = GPIO_AF4_I2C1;
  HAL_GPIO_Init(GPIOB, &GPIO_InitStruct);

  /* EXTI interrupt init*/
  HAL_NVIC_SetPriority(EXTI9_5_IRQn, 0, 0);
  HAL_NVIC_EnableIRQ(EXTI9_5_IRQn);

  HAL_NVIC_SetPriority(EXTI15_10_IRQn, 0, 0);
  HAL_NVIC_EnableIRQ(EXTI15_10_IRQn);

}

/* USER CODE BEGIN 4 */
static uint8_t Read_Buttons(void)
{
    uint8_t mask = BTN_NONE;

    if (BTN_A_READ() == BTN_ACTIVE_STATE) mask |= BTN_A;
    if (BTN_B_READ() == BTN_ACTIVE_STATE) mask |= BTN_B;
    if (BTN_C_READ() == BTN_ACTIVE_STATE) mask |= BTN_C;

    return mask;
}
/* USER CODE END 4 */

void Error_Handler(void)
{
  __disable_irq();
  while (1)
  {
  }
}
